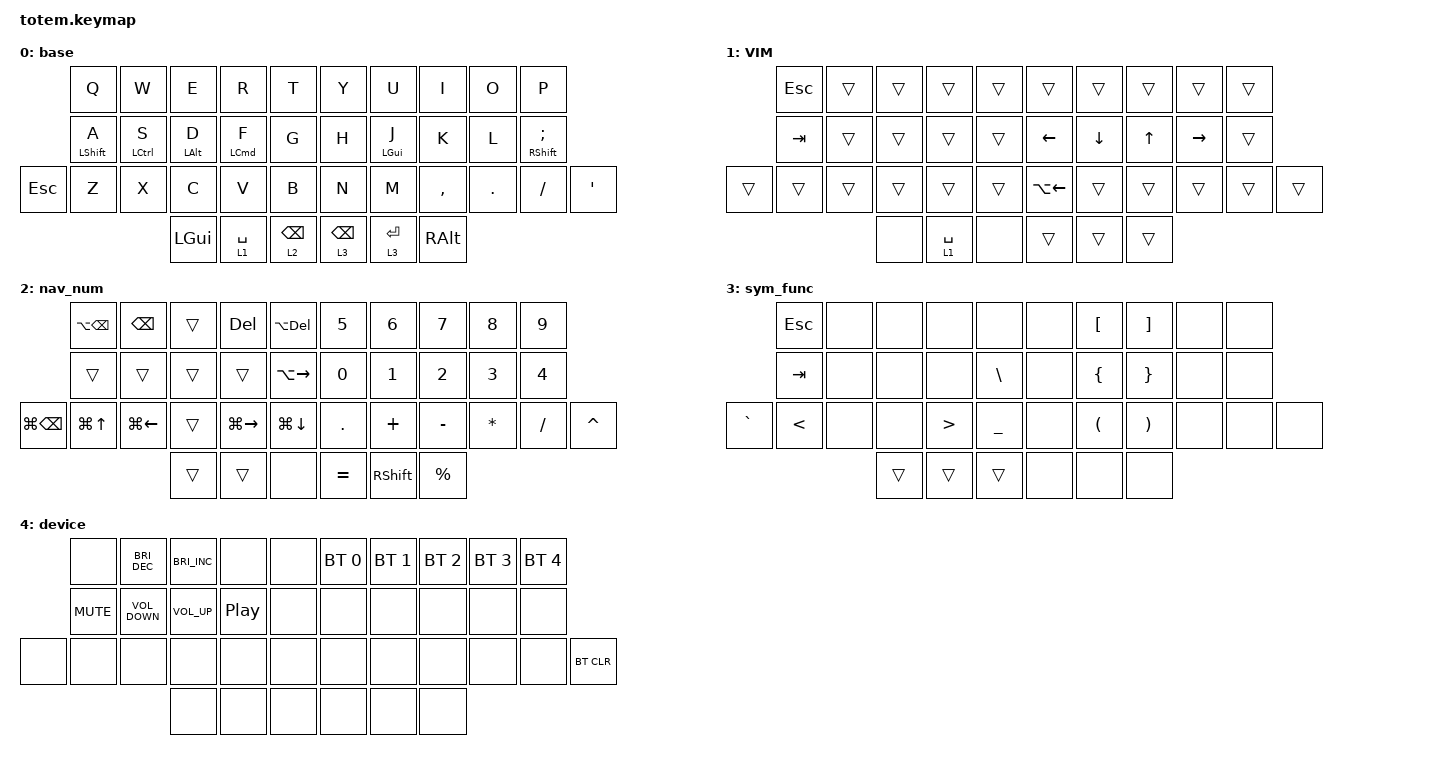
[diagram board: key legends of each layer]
//
//                                                        ▀▀▀▀▀     ▀▀▀▀▀          ▀▀█▀▀
//                                                        ▄▀▀▀▄  ▄  ▄▀▀▀▄  ▄  ▄▀▀▀▄  █  ▄▀▀▀▄
//                                                        █   █  █  █   █  █  █   █  █  █   █
//                                                         ▀▀▀   █   ▀▀▀   █   ▀▀▀   ▀   ▀▀▀
//                                                               █      ▄▄▄█▄▄▄    █   █  
//                                                               ▀      █  █  █     █▄█
//                                                             ▀▀▀▀▀    █  █  █      ▀
//                                                                      ▀  ▀  ▀
//
// ▄▄▄▄▄▄▄▄▄▄▄▄▄▄▄▄▄▄▄▄▄▄▄▄▄▄▄▄▄▄▄▄▄▄▄▄▄▄▄▄▄▄▄▄▄▄▄▄▄▄▄▄▄▄▄▄▄▄▄▄▄▄▄▄▄▄▄▄▄▄▄▄▄▄▄▄▄▄▄▄▄▄▄▄▄▄▄▄▄▄▄▄▄▄▄▄▄▄▄▄▄▄▄▄▄▄▄▄▄▄▄▄▄▄▄▄▄▄▄▄▄▄▄▄▄▄▄▄▄▄▄▄▄▄▄▄▄▄▄▄▄▄▄▄▄▄▄▄▄

#include <behaviors.dtsi>
#include <dt-bindings/zmk/bt.h>
#include <dt-bindings/zmk/keys.h>

&mt {
    tapping-term-ms = <260>;
    flavor = "balanced";
    quick-tap-ms = <175>;
    require-prior-idle-ms = <150>;
};

/ {
    keymap {
        compatible = "zmk,keymap";

        base {
            bindings = <
            &kp Q             &kp W        &kp E       &kp R        &kp T              &kp Y            &kp U           &kp I          &kp O    &kp P
            &mt LEFT_SHIFT A  &mt LCTRL S  &mt LALT D  &mt LCMD F   &kp G              &kp H            &mt LEFT_GUI J  &kp K          &kp L    &mt RIGHT_SHIFT SEMI
&kp ESCAPE  &kp Z             &kp X        &kp C       &kp V        &kp B              &kp N            &kp M           &kp COMMA      &kp DOT  &kp FSLH              &kp APOS
                                           &kp LGUI    &lt 1 SPACE  &lt 2 BACKSPACE    &lt 3 BACKSPACE  &lt 3 ENTER     &kp RIGHT_ALT
            >;
        };

        VIM {
            bindings = <
        &kp ESCAPE  &trans  &trans  &trans       &trans    &trans          &trans    &trans        &trans     &trans
        &kp TAB     &trans  &trans  &trans       &trans    &kp LEFT_ARROW  &kp DOWN  &kp UP_ARROW  &kp RIGHT  &trans
&trans  &trans      &trans  &trans  &trans       &trans    &kp LA(LEFT)    &trans    &trans        &trans     &trans  &trans
                            &none   &lt 1 SPACE  &none     &trans          &trans    &trans
            >;
        };

        nav_num {
            bindings = <
                   &kp LA(BACKSPACE)  &kp BACKSPACE  &trans  &kp DELETE     &kp LA(DELETE)        &kp N5      &kp N6           &kp N7       &kp N8    &kp N9
                   &trans             &trans         &trans  &trans         &kp LA(RIGHT)         &kp N0      &kp N1           &kp N2       &kp N3    &kp N4
&kp LG(BACKSPACE)  &kp LG(UP_ARROW)   &kp LG(LEFT)   &trans  &kp LG(RIGHT)  &kp LG(DOWN_ARROW)    &kp PERIOD  &kp PLUS         &kp MINUS    &kp STAR  &kp FSLH  &kp CARET
                                                     &trans  &trans         &none                 &kp EQUAL   &kp RIGHT_SHIFT  &kp PERCENT
            >;
        };

        sym_func {
            bindings = <
           &kp ESC        &none  &none   &none             &none             &none  &kp LBKT              &kp RBKT               &none  &none
           &kp TAB        &none  &none   &none             &kp BSLH          &none  &kp LEFT_BRACE        &kp RIGHT_BRACE        &none  &none
&kp GRAVE  &kp LESS_THAN  &none  &none   &kp GREATER_THAN  &kp UNDERSCORE    &none  &kp LEFT_PARENTHESIS  &kp RIGHT_PARENTHESIS  &none  &none  &none
                                 &trans  &trans            &trans            &none  &none                 &none
            >;
        };

        device {
            bindings = <
       &none       &kp C_BRIGHTNESS_DEC  &kp C_BRIGHTNESS_INC  &none             &none    &bt BT_SEL 0  &bt BT_SEL 1  &bt BT_SEL 2  &bt BT_SEL 3  &bt BT_SEL 4
       &kp K_MUTE  &kp C_VOLUME_DOWN     &kp C_VOLUME_UP       &kp C_PLAY_PAUSE  &none    &none         &none         &none         &none         &none
&none  &none       &none                 &none                 &none             &none    &none         &none         &none         &none         &none         &bt BT_CLR
                                         &none                 &none             &none    &none         &none         &none
            >;
        };
    };

    conditional_layers { compatible = "zmk,conditional-layers"; };
};
